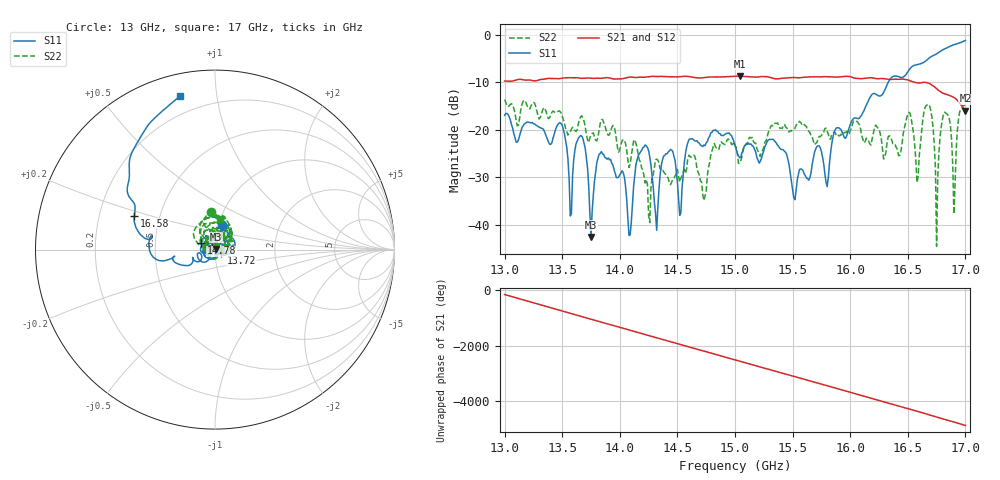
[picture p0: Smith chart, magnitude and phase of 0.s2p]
!Keysight Technologies,P9374A,MY57211807,A.19.30.04
!Date: Friday, May 01, 2026 14:46:43
!Correction: S11(C  2-Port  )
!S21(C  2-Port  )
!S12(C  2-Port  )
!S22(C  2-Port  )
!S2P File: Measurements: S11, S21, S12, S22:
# Hz S  RI  R 50
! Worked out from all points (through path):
!   401 points, 13 GHz to 17 GHz, reference 50 ohm
!   highest |S21| = -8.64 dB at 15.04 GHz (marker M1); lowest = -15.9 dB at 17 GHz (marker M2)
!   lowest |S11| = -42.6 dB at 13.75 GHz (marker M3), VSWR 1.01, Z = 50.7 + j0.359 ohm
!   |S11| at or under -10 dB: start of sweep to 16.33 GHz
!   |S22| runs from -44.5 to -13.6 dB; largest |S21 - S12| = 0.011
!   S11 on the Smith chart (normalised r, x): 13 GHz: 1.04, +0.29; 13.72 GHz: 1.07, -0.04; 14.78 GHz: 0.85, +0.06; 16.58 GHz: 0.36, +0.18; 17 GHz: 0.11, +0.79
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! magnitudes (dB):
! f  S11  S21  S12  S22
! 13 GHz  -17.0  -9.7  -9.7  -13.6
! 13.49 GHz  -18.7  -9.1  -9.1  -16.4
! 13.57 GHz  -38.2  -9.0  -9.0  -20.4
! 13.67 GHz  -21.4  -9.1  -9.1  -17.0
! 13.72 GHz  -28.0  -9.1  -9.1  -22.1
! 13.75 GHz  -42.6  -9.1  -9.1  -21.1
! 13.84 GHz  -24.6  -9.1  -9.1  -17.9
! 14.09 GHz  -42.1  -8.9  -8.9  -27.2
! 14.21 GHz  -23.6  -8.9  -8.9  -29.8
! 14.34 GHz  -32.5  -8.7  -8.7  -27.0
! 14.78 GHz  -21.4  -8.9  -8.8  -26.9
! 15 GHz  -23.3  -8.7  -8.7  -23.2
! 15.04 GHz  -25.9  -8.6  -8.6  -27.0
! 15.67 GHz  -27.3  -8.8  -8.8  -21.5
! 16.34 GHz  -9.5  -9.3  -9.3  -21.3
! 16.51 GHz  -7.4  -9.6  -9.5  -16.3
! 16.58 GHz  -6.2  -10.1  -10.1  -31.1
! 16.67 GHz  -5.2  -10.1  -10.1  -14.7
! 16.75 GHz  -4.0  -11.3  -11.3  -44.5
! 16.83 GHz  -2.8  -12.5  -12.5  -16.5
! 16.9 GHz  -2.0  -13.2  -13.2  -37.8
! 17 GHz  -1.1  -15.9  -15.9  -15.2
